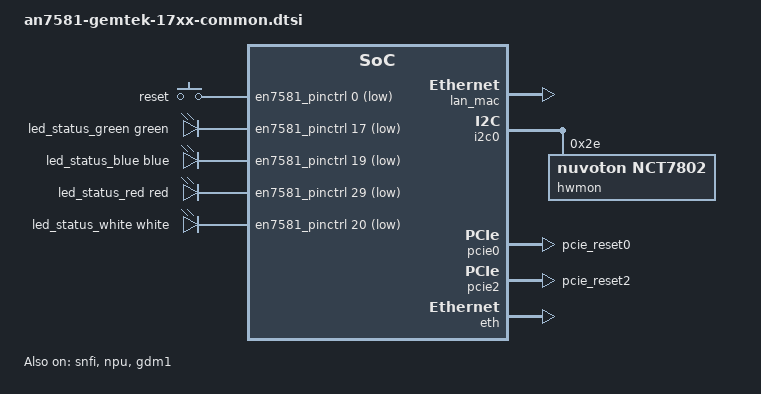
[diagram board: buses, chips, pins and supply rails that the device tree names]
// SPDX-License-Identifier: GPL-2.0-or-later OR MIT

/dts-v1/;

#include <dt-bindings/leds/common.h>
#include <dt-bindings/gpio/gpio.h>
#include <dt-bindings/input/input.h>
#include "an7581.dtsi"

/ {
	aliases {
		serial0 = &uart1;
		led-boot = &led_status_red;
		led-failsafe = &led_status_blue;
		led-upgrade = &led_status_blue;
		led-running = &led_status_green;
	};

	chosen {
		rootdisk = <&ubi_rootfs>;
		bootargs = "console=ttyS0,115200 earlycon ubi.block=0,fit root=/dev/fit0 rootwait";
		stdout-path = "serial0:115200n8";
	};

	keys {
		compatible = "gpio-keys";

		key-restart {
			label = "reset";
			gpios = <&en7581_pinctrl 0 GPIO_ACTIVE_LOW>;
			linux,code = <KEY_RESTART>;
		};
	};

	leds {
		compatible = "gpio-leds";

		led_status_green: led-0 {
			color = <LED_COLOR_ID_GREEN>;
			function = LED_FUNCTION_STATUS;
			gpios = <&en7581_pinctrl 17 GPIO_ACTIVE_LOW>;
		};

		led_status_blue: led-1 {
			color = <LED_COLOR_ID_BLUE>;
			function = LED_FUNCTION_STATUS;
			gpios = <&en7581_pinctrl 19 GPIO_ACTIVE_LOW>;
		};

		led_status_red: led-2 {
			color = <LED_COLOR_ID_RED>;
			function = LED_FUNCTION_STATUS;
			gpios = <&en7581_pinctrl 29 GPIO_ACTIVE_LOW>;
		};

		led_status_white: led-3 {
			color = <LED_COLOR_ID_WHITE>;
			function = LED_FUNCTION_STATUS;
			gpios = <&en7581_pinctrl 20 GPIO_ACTIVE_LOW>;
		};
	};
};

&en7581_pinctrl {
	gpio-ranges = <&en7581_pinctrl 0 13 47>;

	mdio_pins: mdio-pins {
		mux {
			function = "mdio";
			groups = "mdio";
		};

		conf {
			pins = "gpio2";
			output-high;
		};
	};

	pcie0_rst_pins: pcie0-rst-pins {
		conf {
			pins = "pcie_reset0";
			drive-open-drain = <1>;
		};
	};

	pcie2_rst_pins: pcie2-rst-pins {
		conf {
			pins = "pcie_reset2";
			drive-open-drain = <1>;
		};
	};
};

&snfi {
	status = "okay";
};

&spi_nand {
	#address-cells = <1>;
	#size-cells = <1>;
	partitions {
		compatible = "fixed-partitions";
		#address-cells = <1>;
		#size-cells = <1>;

		partition@0 {
			label = "vendor";
			reg = <0x00000000 0x00600000>;
			read-only;
		};

		partition@600000 {
			label = "chainloader";
			reg = <0x00600000 0x00100000>;
			read-only;
		};

		partition@700000 {
			label = "ubi";
			reg = <0x00700000 0x1f700000>;
			compatible = "linux,ubi";

			volumes {
				ubi-volume-ubootenv {
					volname = "ubootenv";
					nvmem-layout {
						compatible = "u-boot,env-redundant-bool";
					};
				};

				ubi-volume-ubootenv2 {
					volname = "ubootenv2";
					nvmem-layout {
						compatible = "u-boot,env-redundant-bool";
					};
				};

				ubi_rootfs: ubi-volume-fit {
					volname = "fit";
				};

				ubi_factory: ubi-volume-factory {
					volname = "factory";
				};
			};
		};

		/* reserved for bad block table */
		reserved_bmt@1fe00000 {
			label = "reserved_bmt";
			reg = <0x1fe00000 0x00200000>;
			read-only;
		};
	};
};

&ubi_factory {
	nvmem-layout {
		compatible = "fixed-layout";
		#address-cells = <1>;
		#size-cells = <1>;

		eeprom: eeprom@0 {
			reg = <0x0 0x1e00>;
		};

		wan_mac: macaddr@5000 {
			reg = <0x5000 0x6>;
		};

		lan_mac: macaddr@6000 {
			compatible = "mac-base";
			reg = <0x6000 0x6>;
			#nvmem-cell-cells = <1>;
		};
	};
};

&i2c0 {
	status = "okay";

	hwmon@2e {
		compatible = "nuvoton,nct7802";
		reg = <0x2e>;
	};
};

&pcie0 {
	status = "okay";

	pinctrl-names = "default";
	pinctrl-0 = <&pcie0_rst_pins>;
	pcie@0,0 {
		reg = <0x0000 0 0 0 0>;
		device_type = "pci";
		#address-cells = <3>;
		#size-cells = <2>;

		mt7996@0,0 {
			reg = <0x0000 0 0 0 0>;
			#address-cells = <1>;
			#size-cells = <0>;
			nvmem-cells = <&eeprom>;
			nvmem-cell-names = "eeprom";
			airoha,npu = <&npu>;
			airoha,eth = <&eth>;

			band@0 {
				/* 2.4 GHz */
				reg = <0>;
				nvmem-cells = <&lan_mac 1>;
				nvmem-cell-names = "mac-address";
			};

			band@1 {
				/* 5 GHz */
				reg = <1>;
				nvmem-cells = <&lan_mac 2>;
				nvmem-cell-names = "mac-address";
			};

			band@2 {
				/* 6 GHz */
				reg = <2>;
				nvmem-cells = <&lan_mac 3>;
				nvmem-cell-names = "mac-address";
			};
		};
	};
};

&pcie2 {
	status = "okay";

	pinctrl-names = "default";
	pinctrl-0 = <&pcie2_rst_pins>;
};

&npu {
	firmware-name = "airoha/en7581_MT7996_npu_rv32.bin",
		"airoha/en7581_MT7996_npu_data.bin";
	status = "okay";
};

&eth {
	status = "okay";
};

&gdm1 {
	status = "okay";

	nvmem-cells = <&lan_mac 0>;
	nvmem-cell-names = "mac-address";
};
